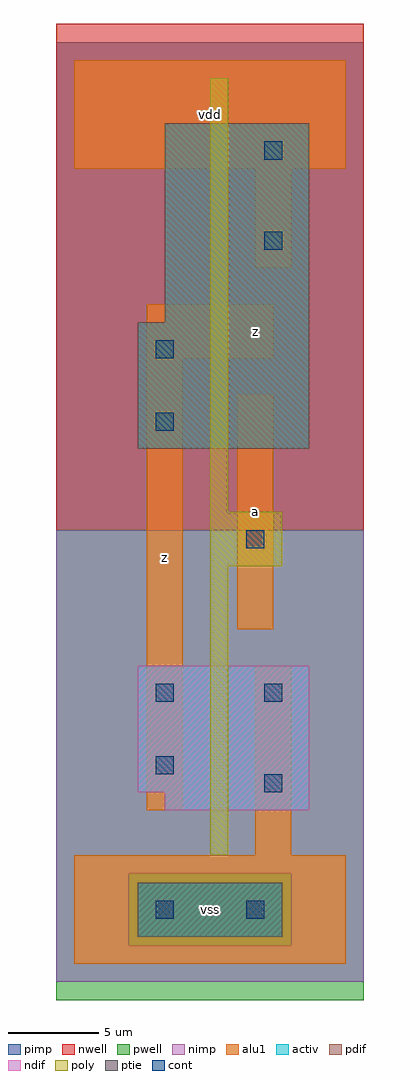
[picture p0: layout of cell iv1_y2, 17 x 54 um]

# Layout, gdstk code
import gdstk
lib = gdstk.Library(unit=1e-6, precision=1e-09)
def R(c, l, rs):  # rectangles x0, y0, x1, y1
    for r in rs: c.add(gdstk.rectangle(r[:2], r[2:], *l))
ndif = (3, 0)
pdif = (4, 0)
ptie = (6, 0)
cont = (25, 0)
pwell = (41, 0)
nwell = (42, 0)
activ = (43, 0)
pimp = (44, 0)
nimp = (45, 0)
poly = (46, 0)
alu1 = (49, 0)

iv1_y2 = lib.new_cell('iv1_y2')
R(iv1_y2, ndif, [(5,8.5,13,9.5), (3.5,9.5,13,16.5)])
R(iv1_y2, pdif, [(3.5,28.5,13,35.5), (5,35.5,13,46.5)])
R(iv1_y2, ptie, [(3.5,1.5,11.5,4.5)])
R(iv1_y2, cont, [(4.5,2.5,5.5,3.5), (9.5,2.5,10.5,3.5), (10.5,9.5,11.5,10.5), (4.5,10.5,5.5,11.5), (4.5,14.5,5.5,15.5), (10.5,14.5,11.5,15.5), (9.5,23,10.5,24), (4.5,29.5,5.5,30.5), (4.5,33.5,5.5,34.5), (10.5,39.5,11.5,40.5), (10.5,44.5,11.5,45.5)])
R(iv1_y2, pwell, [(-1,-2,16,24)])
R(iv1_y2, nwell, [(-1,24,16,52)])
R(iv1_y2, activ, [(3.5,1.5,11.5,4.5), (5,8.5,13,9.5), (3.5,9.5,13,16.5), (3.5,28.5,13,35.5), (5,35.5,13,46.5)])
R(iv1_y2, pimp, [(3,1,12,5), (-1,24,16,51)])
R(iv1_y2, nimp, [(-1,-1,16,1), (-1,1,3,5), (12,1,16,5), (-1,5,16,24)])
R(iv1_y2, poly, [(7.5,6,8.5,22), (7.5,22,11.5,25), (7.5,25,8.5,49)])
R(iv1_y2, alu1, [(0,0,15,6), (10,6,12,16.5), (4,8.5,6,33.5), (9,18.5,11,31.5), (4,33.5,11,36.5), (10,38.5,12,44), (0,44,15,50)])
iv1_y2.add(gdstk.Label('z', (5,22.5), layer=49, texttype=0))
iv1_y2.add(gdstk.Label('vss', (7.5,3), layer=49, texttype=0))
iv1_y2.add(gdstk.Label('a', (10,25), layer=49, texttype=0))
iv1_y2.add(gdstk.Label('z', (10,35), layer=49, texttype=0))
iv1_y2.add(gdstk.Label('vdd', (7.5,47), layer=49, texttype=0))

lib.write_gds('iv1_y2.gds')
